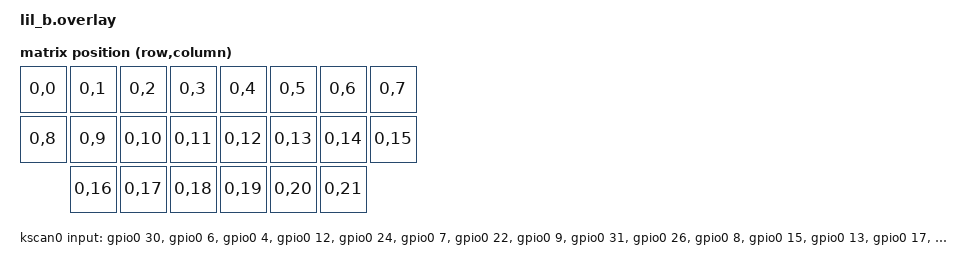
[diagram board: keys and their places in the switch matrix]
/*
 * Six 1u bottom keys. The centered 2u footprints share P0.29 and P0.03
 * with the inner 1u of each pair. The outer 1u keys are P1.10 and P1.11.
 * Positions match config/lil_b.keymap: 16 LH2, 17 LH1, 18 LH0, 19 RH0, 20 RH1, 21 RH2.
 */

#include <dt-bindings/zmk/matrix_transform.h>

&kscan0 {
    input-gpios
        = <&gpio0 30 (GPIO_ACTIVE_LOW | GPIO_PULL_UP)>
        , <&gpio0 6 (GPIO_ACTIVE_LOW | GPIO_PULL_UP)>
        , <&gpio0 4 (GPIO_ACTIVE_LOW | GPIO_PULL_UP)>
        , <&gpio0 12 (GPIO_ACTIVE_LOW | GPIO_PULL_UP)>
        , <&gpio0 24 (GPIO_ACTIVE_LOW | GPIO_PULL_UP)>
        , <&gpio0 7 (GPIO_ACTIVE_LOW | GPIO_PULL_UP)>
        , <&gpio0 22 (GPIO_ACTIVE_LOW | GPIO_PULL_UP)>
        , <&gpio0 9 (GPIO_ACTIVE_LOW | GPIO_PULL_UP)>
        , <&gpio0 31 (GPIO_ACTIVE_LOW | GPIO_PULL_UP)>
        , <&gpio0 26 (GPIO_ACTIVE_LOW | GPIO_PULL_UP)>
        , <&gpio0 8 (GPIO_ACTIVE_LOW | GPIO_PULL_UP)>
        , <&gpio0 15 (GPIO_ACTIVE_LOW | GPIO_PULL_UP)>
        , <&gpio0 13 (GPIO_ACTIVE_LOW | GPIO_PULL_UP)>
        , <&gpio0 17 (GPIO_ACTIVE_LOW | GPIO_PULL_UP)>
        , <&gpio0 20 (GPIO_ACTIVE_LOW | GPIO_PULL_UP)>
        , <&gpio0 10 (GPIO_ACTIVE_LOW | GPIO_PULL_UP)>
        , <&gpio1 10 (GPIO_ACTIVE_LOW | GPIO_PULL_UP)>
        , <&gpio0 29 (GPIO_ACTIVE_LOW | GPIO_PULL_UP)>
        , <&gpio0 2 (GPIO_ACTIVE_LOW | GPIO_PULL_UP)>
        , <&gpio0 28 (GPIO_ACTIVE_LOW | GPIO_PULL_UP)>
        , <&gpio0 3 (GPIO_ACTIVE_LOW | GPIO_PULL_UP)>
        , <&gpio1 11 (GPIO_ACTIVE_LOW | GPIO_PULL_UP)>
        ;
};

&default_transform {
    columns = <22>;
    map = <
        RC(0,0) RC(0,1) RC(0,2)  RC(0,3) RC(0,4) RC(0,5) RC(0,6) RC(0,7)
        RC(0,8) RC(0,9) RC(0,10) RC(0,11) RC(0,12) RC(0,13) RC(0,14) RC(0,15)
        RC(0,16) RC(0,17) RC(0,18) RC(0,19) RC(0,20) RC(0,21)
        >;
};

&layout_0 {
    keys
        = <&key_physical_attrs 100 100   0   0       0     0     0>
        , <&key_physical_attrs 100 100 100   0       0     0     0>
        , <&key_physical_attrs 100 100 200   0       0     0     0>
        , <&key_physical_attrs 100 100 300   0       0     0     0>
        , <&key_physical_attrs 100 100 400   0       0     0     0>
        , <&key_physical_attrs 100 100 500   0       0     0     0>
        , <&key_physical_attrs 100 100 600   0       0     0     0>
        , <&key_physical_attrs 100 100 700   0       0     0     0>
        , <&key_physical_attrs 100 100   0 100       0     0     0>
        , <&key_physical_attrs 100 100 100 100       0     0     0>
        , <&key_physical_attrs 100 100 200 100       0     0     0>
        , <&key_physical_attrs 100 100 300 100       0     0     0>
        , <&key_physical_attrs 100 100 400 100       0     0     0>
        , <&key_physical_attrs 100 100 500 100       0     0     0>
        , <&key_physical_attrs 100 100 600 100       0     0     0>
        , <&key_physical_attrs 100 100 700 100       0     0     0>
        , <&key_physical_attrs 100 100 100 200       0     0     0>
        , <&key_physical_attrs 100 100 200 200       0     0     0>
        , <&key_physical_attrs 100 100 300 200       0     0     0>
        , <&key_physical_attrs 100 100 400 200       0     0     0>
        , <&key_physical_attrs 100 100 500 200       0     0     0>
        , <&key_physical_attrs 100 100 600 200       0     0     0>
        ;
};
